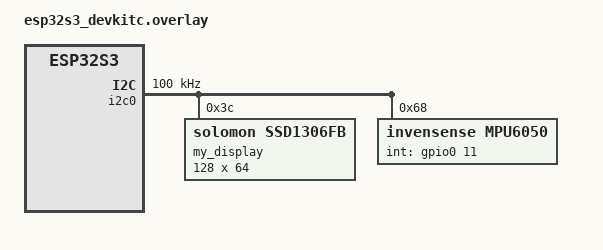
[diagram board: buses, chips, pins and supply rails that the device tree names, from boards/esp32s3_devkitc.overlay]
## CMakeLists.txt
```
cmake_minimum_required(VERSION 3.20.0)
find_package(Zephyr REQUIRED HINTS $ENV{ZEPHYR_BASE})

project(zephyr-display-lvgl)

target_include_directories(app PRIVATE 
    ${CMAKE_CURRENT_SOURCE_DIR}/src
)

# FILE(GLOB app_sources ${CMAKE_CURRENT_SOURCE_DIR}/src/*.c)
FILE(GLOB app_sources 
    ${CMAKE_CURRENT_SOURCE_DIR}/src/main.c
    ${CMAKE_CURRENT_SOURCE_DIR}/src/imu.c
    ${CMAKE_CURRENT_SOURCE_DIR}/src/display.c
)
target_sources(app PRIVATE ${app_sources})
```

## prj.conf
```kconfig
# Common Application Configuration

# System
CONFIG_PINCTRL=y
CONFIG_MAIN_STACK_SIZE=4096
CONFIG_HEAP_MEM_POOL_SIZE=8192

# Display
CONFIG_DISPLAY=y
CONFIG_SSD1306=y

# LVGL
CONFIG_LVGL=y
CONFIG_LV_USE_LOG=y
CONFIG_LV_CONF_MINIMAL=y
CONFIG_LV_USE_LABEL=y
CONFIG_LV_USE_CANVAS=y
CONFIG_LV_LABEL_TEXT_SELECTION=y
CONFIG_LV_LABEL_LONG_TXT_HINT=y
CONFIG_LV_USE_LINE=y

CONFIG_LV_DPI_DEF=148
CONFIG_LV_Z_BITS_PER_PIXEL=1
CONFIG_LV_COLOR_DEPTH_1=y
CONFIG_LV_FONT_MONTSERRAT_14=y

CONFIG_LV_Z_MEM_POOL_SIZE=16384

# I2C
CONFIG_I2C=y

# IMU
CONFIG_SENSOR=y
CONFIG_MPU6050=y
CONFIG_MPU6050_TRIGGER_NONE=y
CONFIG_CBPRINTF_FP_SUPPORT=y

# Logging System
CONFIG_LOG=y
CONFIG_LOG_MODE_DEFERRED=y
CONFIG_LOG_BUFFER_SIZE=2048
CONFIG_LOG_BACKEND_UART=y
CONFIG_LOG_PROCESS_THREAD=y
CONFIG_LOG_PROCESS_THREAD_STACK_SIZE=1024

# Log Levels
CONFIG_LOG_DEFAULT_LEVEL=3 
CONFIG_I2C_LOG_LEVEL_DBG=y
# CONFIG_DISPLAY_LOG_LEVEL_INF=y
CONFIG_SENSOR_LOG_LEVEL_DBG=y
```

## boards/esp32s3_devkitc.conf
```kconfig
# ESP32-S3 Specific Configuration

# I2C Controller
CONFIG_I2C_ESP32=y

# Additional ESP32-specific display options if needed
# CONFIG_SSD1306_REFRESH_PERIOD=100

# ESP32-specific power management
# CONFIG_PM_DEVICE=y
```

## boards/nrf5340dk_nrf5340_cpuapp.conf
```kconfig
# nRF5340DK-specific Configuration

# I2C Controller (matches overlay)
CONFIG_I2C_NRFX=y
# CONFIG_NRFX_TWIM1=y  # Critical for I2C1 in overlay

# Disable conflicting peripheral
# CONFIG_NRFX_TWIM0=n

# Optional board-specific tweaks
CONFIG_SYSTEM_WORKQUEUE_STACK_SIZE=2048
```

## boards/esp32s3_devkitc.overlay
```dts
/*
 * ESP32-S3 DevKitC overlay - Combined SSD1306 display and MPU6050 IMU
 * Using default I2C pins: GPIO8 (SDA), GPIO9 (SCL)
 */

/ {
    chosen {
        zephyr,display = &my_display;
    };
};

&i2c0 {
    status = "okay";
    clock-frequency = <I2C_BITRATE_STANDARD>;
    
    /* SSD1306 Display */
    my_display: ssd1306@3c {
        compatible = "solomon,ssd1306fb";
        reg = <0x3c>;
        width = <128>;
        height = <64>;
        segment-offset = <0>;
        page-offset = <0>;
        display-offset = <0>;
        multiplex-ratio = <63>;
        com-sequential;
        prechargep = <0x22>;
    };
    
    /* MPU6050 IMU */
    mpu6050@68 {
        compatible = "invensense,mpu6050";
        reg = <0x68>;
        status = "okay";
        int-gpios = <&gpio0 11 GPIO_ACTIVE_HIGH>;
        smplrt-div = <249>;
    };
};
```

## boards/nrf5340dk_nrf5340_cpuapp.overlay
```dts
// /*
//  * nRF5340DK overlay - Combined SSD1306 display and MPU6050 IMU
//  * Using I2C1 with pins P1.14 (SCL) and P1.15 (SDA)
//  */

/ {
    chosen {
        zephyr,display = &my_display;
    };
};

// &i2c1 {
//     compatible = "nordic,nrf-twim";
//     status = "okay";
//     clock-frequency = <I2C_BITRATE_FAST_PLUS>;
//     // clock-frequency = <I2C_BITRATE_STANDARD>;
//     zephyr,concat-buf-size = <2048>; // 64
//     pinctrl-0 = <&i2c1_default>;
//     pinctrl-1 = <&i2c1_sleep>;
//     pinctrl-names = "default", "sleep";
//     // zephyr,flash-buf-max-size = <64>; 
    
//     my_display: ssd1306@3c {
//         compatible = "solomon,ssd1306fb";
//         reg = <0x3c>;
//         width = <128>;
//         height = <128>; // 64
//         segment-offset = <0>;
//         page-offset = <0>;
//         display-offset = <0>;
//         multiplex-ratio = <63>;
//         // com-sequential;
//         prechargep = <0x22>;
// 		ready-time-ms = <1>;
//     };
    
//     /* MPU6050 IMU */
//     mpu6050@68 {
//         compatible = "invensense,mpu6050";
//         reg = <0x68>;
//         status = "okay";
//         int-gpios = <&gpio0 11 GPIO_ACTIVE_HIGH>;
//         smplrt-div = <249>;
//     };
// };

// &pinctrl {
//     /omit-if-no-ref/ i2c1_default: i2c1_default {
//         group1 {
//             psels = <NRF_PSEL(TWIM_SCL, 1, 14)>,
//                     <NRF_PSEL(TWIM_SDA, 1, 15)>;
//         };
//     };
    
//     /omit-if-no-ref/ i2c1_sleep: i2c1_sleep {
//         group1 {
//             psels = <NRF_PSEL(TWIM_SCL, 1, 14)>,
//                     <NRF_PSEL(TWIM_SDA, 1, 15)>;
//             low-power-enable;
//         };
//     };
// };

// To get started, press Ctrl+Space to bring up the completion menu and view the available nodes.

// You can also use the buttons in the sidebar to perform actions on nodes.
// Actions currently available include:

// * Enabling / disabling the node
// * Adding the bus to a bus
// * Removing the node
// * Connecting ADC channels

// For more help, browse the DeviceTree documentation at https://docs.zephyrproject.org/latest/guides/dts/index.html
// You can also visit the nRF DeviceTree extension documentation at https://nrfconnect.github.io/vscode-nrf-connect/devicetree/nrfdevicetree.html


&i2c1 {
	compatible = "nordic,nrf-twim";
	status = "okay";
	clock-frequency = <I2C_BITRATE_FAST>;
    zephyr,concat-buf-size = <4096>;
    pinctrl-0 = <&i2c1_default>;
    pinctrl-1 = <&i2c1_sleep>;
    pinctrl-names = "default", "sleep";
  
    my_display: ssd1306@3c {
        status = "okay";
        compatible = "solomon,ssd1306fb";
        reg = <0x3c>; //0x3c is the i2c address of the display controller IC, SSD1306.
        width = <128>; // Width of the display.
        height = <64>; // Height of the display. Change to '64' when using the 128x64 pixel version.
        segment-offset = <0>;
        page-offset = <0>;
        display-offset = <0>;
        multiplex-ratio = <63>; //change to '63' when using the 128x64 pixel version
        segment-remap;
        com-invdir;
        com-sequential;
        prechargep = <0x22>;
        inversion-on;
	// add more driver settings here
    };

    /* MPU6050 IMU */
    my_imu: mpu6050@68 {
        compatible = "invensense,mpu6050";
        reg = <0x68>;  // Default I2C address (AD0 pin low)
        status = "okay";
        int-gpios = <&gpio0 10 GPIO_ACTIVE_HIGH>;  // Using P0.10 for interrupt
        smplrt-div = <249>;  // Sample rate divider (249 = 1kHz / (1 + 249) = ~4Hz)
    };
};


&pinctrl {
    i2c1_default: i2c1_default {
        group1 {
            psels = <NRF_PSEL(TWIM_SDA, 1, 2)>, // GPIO P1.2
                <NRF_PSEL(TWIM_SCL, 1, 3)>; 	// GPIO P1.3
        };
    };

    i2c1_sleep: i2c1_sleep {
        group1 {
            psels = <NRF_PSEL(TWIM_SDA, 1, 2)>, // GPIO P1.2
                <NRF_PSEL(TWIM_SCL, 1, 3)>;	// GPIO P1.3
            low-power-enable;
        };
    };
};
```

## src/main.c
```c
#include "display.h"
#include "imu.h"

#include <zephyr/logging/log.h>
LOG_MODULE_REGISTER(main, CONFIG_LOG_DEFAULT_LEVEL);

int main(void)
{
    LOG_INF("Main Start");

	imu_init();
    display_init();

    k_msleep(1000);

    while(1) {
        imu_loop();
        display_loop();
    }
 
    LOG_INF("Main End");
}
```

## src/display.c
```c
#include "display.h"

LOG_MODULE_REGISTER(display_module, CONFIG_LOG_DEFAULT_LEVEL);

static const int32_t sleep_time_ms = 50;  

uint32_t count = 0;
char buf[11] = {0};

lv_obj_t *hello_label;
lv_obj_t *counter_label;

// 16x16 circle bitmap (1bpp, 32 bytes)
static const uint8_t circle_bitmap[32] = {
    0x00, 0x00, 0x00, 0x3C, 0x00, 0xFF, 0x03, 0xFF,
    0x07, 0xFF, 0x0F, 0xFF, 0x0F, 0xFF, 0x1F, 0xFF,
    0x1F, 0xFF, 0x1F, 0xFF, 0x0F, 0xFF, 0x0F, 0xFF,
    0x07, 0xFF, 0x03, 0xFF, 0x00, 0xFF, 0x00, 0x3C
};

void draw_bottom_right_circle(const struct device *display_dev) {
    // Position calculation (bottom-right)
    const uint16_t x_pos = 128 - 16; // 112
    const uint16_t y_pos = 64 - 16;  // 48

    // Configure the buffer descriptor
    struct display_buffer_descriptor desc = {
        .width = 16,         // Bitmap width in pixels
        .height = 16,        // Bitmap height in pixels
        .pitch = 16,         // Width in bytes (16px = 2 bytes)
        .buf_size = 32       // Total bytes (16x16 @ 1bpp = 32 bytes)
    };

    display_write(display_dev, x_pos, y_pos, &desc, circle_bitmap);
    
    // Write to display with error checking
    if (display_write(display_dev, x_pos, y_pos, &desc, circle_bitmap)) {
        LOG_ERR("Failed to write circle bitmap!");
    } else {
        LOG_INF("Circle drawn at (%d, %d)", x_pos, y_pos);
    }
}

static const struct device *display;

int display_init() {
    display = DEVICE_DT_GET(DT_CHOSEN(zephyr_display));
    
    if (!device_is_ready(display)) {
        LOG_ERR("Display device not ready\n");
        return -1;
    }

    LOG_INF("Display initialized successfully\n");
	
    hello_label = lv_label_create(lv_scr_act());
    lv_label_set_text(hello_label, "Hello, World!");
    lv_obj_set_pos(hello_label, 2, 0);
	lv_obj_set_style_text_font(hello_label, &lv_font_montserrat_14, LV_PART_MAIN);
    lv_obj_clear_flag(hello_label, LV_OBJ_FLAG_HIDDEN);

    counter_label = lv_label_create(lv_scr_act());
    lv_obj_align(counter_label, LV_ALIGN_BOTTOM_MID, 0, 0);	

    // draw_bottom_right_circle(display);

    display_blanking_off(display);

    return 0;
}

int display_loop() {
    if (!device_is_ready(display)) {
        LOG_ERR("Display not ready, skipping LVGL\n");
        k_msleep(1000);
        return -1;  // Error
    }

    count++;
    if ((count % (1000 / sleep_time_ms)) == 0) {
        sprintf(buf, "%d", count / (1000 / sleep_time_ms));
        lv_label_set_text(counter_label, buf);
    }
    
    if ((count % 2) == 0) {
        lv_obj_add_flag(hello_label, LV_OBJ_FLAG_HIDDEN);
    } else {
        lv_obj_clear_flag(hello_label, LV_OBJ_FLAG_HIDDEN);
    }

    lv_task_handler();
    k_msleep(sleep_time_ms);
    return 0;
}
```

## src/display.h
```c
#ifndef DISPLAY_H
#define DISPLAY_H

#include <zephyr/drivers/display.h>
#include <lvgl.h>
#include <string.h>
#include <zephyr/kernel.h>
#include <zephyr/logging/log.h>

int display_init();
int display_loop();

#endif // DISPLAY_H
```

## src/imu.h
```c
#ifndef _IMU_H
#define _IMU_H

#include <zephyr/kernel.h>
#include <zephyr/device.h>
#include <zephyr/drivers/sensor.h>
#include <stdio.h>
#include <zephyr/sys/__assert.h>
#include <zephyr/logging/log.h>

int imu_init();
int imu_loop();

#endif // _IMU_H
```

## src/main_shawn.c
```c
#include <zephyr/logging/log.h>
LOG_MODULE_REGISTER(main, CONFIG_LOG_DEFAULT_LEVEL);

#include <zephyr/kernel.h>
#include <zephyr/drivers/display.h>
#include <lvgl.h>
#include <string.h>

// Settings
static const int32_t sleep_time_ms = 50;        // Target 20 FPS

int main(void)
{
    LOG_INF("Main Start");
    uint32_t count = 0;
    char buf[11] = {0};
    const struct device *display;
    lv_obj_t *hello_label;
    lv_obj_t *counter_label;
    lv_obj_t *rect;
    lv_obj_t *circle;
    lv_style_t rect_style;
    lv_style_t circle_style;
    lv_point_t rect_points[5] = { {0, 0}, {120, 0}, {120, 20}, {0, 20}, {0, 0} };
    const uint32_t circle_radius = 15;

    // Initialize the display
    display = DEVICE_DT_GET(DT_CHOSEN(zephyr_display));
    if (!device_is_ready(display)) {
        LOG_ERR("Error: display not ready\r\n");
        return 0;
    }

    // Create a static label widget
    hello_label = lv_label_create(lv_scr_act());
    lv_label_set_text(hello_label, "Hello, World!");
    lv_obj_align(hello_label, LV_ALIGN_TOP_MID, 0, 5);

    // Create a dynamic label widget
    counter_label = lv_label_create(lv_scr_act());
    lv_obj_align(counter_label, LV_ALIGN_BOTTOM_MID, 0, 0);

    // Set line style
    lv_style_init(&rect_style);
    lv_style_set_line_color(&rect_style, lv_color_hex(0x0000FF));
    lv_style_set_line_width(&rect_style, 3);

    // Create a rectangle out of lines
    rect = lv_line_create(lv_scr_act());
    lv_obj_add_style(rect, &rect_style, 0);
    lv_line_set_points(rect,
                       rect_points,
                       sizeof(rect_points) / sizeof(rect_points[0]));
    lv_obj_align(rect, LV_ALIGN_TOP_MID, 0, 0);

    // Set circle style
    lv_style_init(&circle_style);
    lv_style_set_radius(&circle_style, circle_radius);
    lv_style_set_bg_opa(&circle_style, LV_OPA_100);
    lv_style_set_bg_color(&circle_style, lv_color_hex(0xFF0000));

    // Create an object with the new style
    circle = lv_obj_create(lv_scr_act());
    lv_obj_set_size(circle, circle_radius * 2, circle_radius * 2);
    lv_obj_add_style(circle, &circle_style, 0);
    lv_obj_align(circle, LV_ALIGN_CENTER, 0, 5);

    // Disable display blanking
    display_blanking_off(display);

    // Do forever
    while (1) {

        // Update counter label every second
        count++;
        if ((count % (1000 / sleep_time_ms)) == 0) {
            sprintf(buf, "%d", count / (1000 / sleep_time_ms));
            lv_label_set_text(counter_label, buf);
        }

        // Must be called periodically
        lv_task_handler();

        // Sleep
        k_msleep(sleep_time_ms);
    }
}
```
